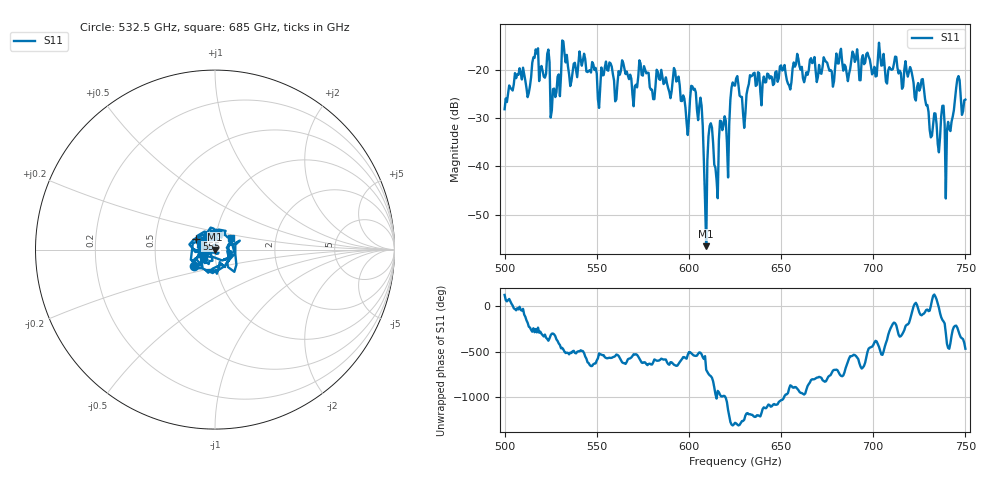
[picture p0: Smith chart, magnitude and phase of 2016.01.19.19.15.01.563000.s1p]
!Created with skrf (http://scikit-rf.org).
# GHz S RI R 50.0
!freq ReS11 ImS11
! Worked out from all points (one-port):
!   401 points, 500 GHz to 750 GHz, reference 50 ohm
!   lowest |S11| = -56.5 dB at 609.4 GHz (marker M1), VSWR 1.00, Z = 50.1 + j0.045 ohm
!   |S11| at or under -10 dB: start of sweep to end of sweep
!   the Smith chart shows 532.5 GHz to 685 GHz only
!   S11 on the Smith chart (normalised r, x): 532.5 GHz: 0.78, -0.14; 555 GHz: 0.81, +0.10; 685 GHz: 1.18, +0.15
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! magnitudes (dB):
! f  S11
! 500 GHz  -28.2
! 506.9 GHz  -21.0
! 513.1 GHz  -24.8
! 516.9 GHz  -15.8
! 523.1 GHz  -16.7
! 526.2 GHz  -24.0
! 531.2 GHz  -14.0
! 532.5 GHz  -16.7
! 535.6 GHz  -23.4
! 555 GHz  -18.3
! 562.5 GHz  -21.1
! 593.8 GHz  -22.2
! 598.8 GHz  -31.0
! 602.5 GHz  -24.2
! 606.2 GHz  -25.8
! 609.4 GHz  -56.5
! 611.2 GHz  -31.6
! 615 GHz  -42.8
! 625 GHz  -23.3
! 629.4 GHz  -29.1
! 634.4 GHz  -21.2
! 656.2 GHz  -19.8
! 685 GHz  -19.4
! 687.5 GHz  -19.8
! 718.8 GHz  -21.4
! 740.6 GHz  -30.8
! 745.6 GHz  -21.9
! 750 GHz  -26.2
